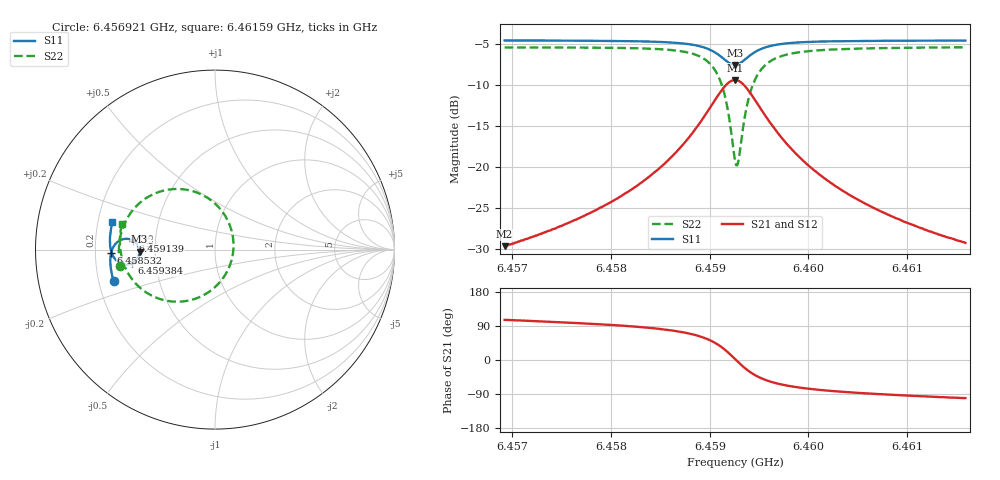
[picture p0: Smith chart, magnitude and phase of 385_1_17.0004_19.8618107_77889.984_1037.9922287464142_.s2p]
#  HZ  S  RI  R  50.00
! Rohde & Schwarz Vector Network Analyzer
! Rohde-Schwarz,ZNB20-2Port,1311601062101988,3.16
! Created: UTC 3/20/2024, 11:09:18 PM
! freq[Hz]  re:S11  im:S11  re:S21  im:S21  re:S12  im:S12  re:S22  im:S22
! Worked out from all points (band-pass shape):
!   401 points, 6.456921 GHz to 6.46159 GHz, reference 50 ohm
!   highest |S21| = -9.37 dB at 6.459256 GHz (marker M1); lowest = -29.6 dB at 6.456921 GHz (marker M2)
!   |S21| within 3 dB of the highest: 6.459023 GHz to 6.459489 GHz (466.6 kHz wide, 0.00722 % of centre)
!   lowest |S11| = -7.5 dB at 6.459256 GHz (marker M3), VSWR 2.45, Z = 20.4 - j0.571 ohm
!   |S11| at or under -10 dB: nowhere
!   |S22| runs from -19.8 to -5.4 dB; largest |S21 - S12| = 0.013
!   S11 on the Smith chart (normalised r, x): 6.456921 GHz: 0.26, -0.14; 6.458532 GHz: 0.27, -0.01; 6.459139 GHz: 0.37, +0.05; 6.459384 GHz: 0.36, -0.07; 6.46159 GHz: 0.26, +0.12
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6.4569213e9  -0.5652 -0.1766  -0.009 0.0318  -0.00734 0.0317  -0.5292 -0.0895
6.4577033e9  -0.58 -0.1086  -0.00592 0.0494  -0.00347 0.049  -0.5357 0.000646
6.4581235e9  -0.5833 -0.0668  -0.000355 0.068  0.00275 0.0667  -0.5285 0.0656
6.4584853e9  -0.5798 -0.0243  0.0133 0.0971  0.0172 0.0945  -0.5039 0.1452
6.458532e9  -0.5785 -0.0179  0.0166 0.1025  0.0206 0.0996  -0.4978 0.1584
6.4587421e9  -0.5665 0.014  0.0421 0.1339  0.0463 0.1292  -0.45 0.2294
6.4588938e9  -0.5456 0.0402  0.084 0.164  0.0873 0.1575  -0.373 0.2935
6.4590455e9  -0.5001 0.06  0.1745 0.1831  0.1755 0.1757  -0.208 0.3377
6.4591389e9  -0.4562 0.0503  0.2632 0.1528  0.2634 0.1469  -0.0438 0.2897
6.4591856e9  -0.4353 0.0318  0.3063 0.1108  0.3076 0.1056  0.038 0.2153
6.4592556e9  -0.4205 -0.0115  0.3396 0.0154  0.343 0.00872  0.1028 0.0389
6.459279e9  -0.4222 -0.0271  0.3377 -0.0192  0.3413 -0.0274  0.0993 -0.0268
6.4592907e9  -0.4244 -0.0348  0.3342 -0.0362  0.3378 -0.0451  0.0923 -0.0587
6.4593373e9  -0.4397 -0.0604  0.3063 -0.0952  0.3083 -0.1068  0.0365 -0.17
6.459384e9  -0.4614 -0.0764  0.265 -0.1357  0.2643 -0.1487  -0.0466 -0.2441
6.4594774e9  -0.5042 -0.083  0.1817 -0.1667  0.1758 -0.1781  -0.2122 -0.2904
6.4596291e9  -0.5474 -0.0626  0.0952 -0.1535  0.0871 -0.1596  -0.377 -0.2428
6.4597925e9  -0.5686 -0.035  0.051 -0.1262  0.0435 -0.129  -0.4564 -0.172
6.4600377e9  -0.5812 0.000579  0.0222 -0.0954  0.0165 -0.0961  -0.5041 -0.091
6.4603995e9  -0.5857 0.0429  0.00606 -0.0684  0.00217 -0.0681  -0.5258 -0.0105
6.4608197e9  -0.5836 0.0849  -0.00139 -0.0509  -0.00416 -0.0502  -0.5297 0.0551
6.46159e9  -0.5711 0.1528  -0.00624 -0.034  -0.00803 -0.033  -0.5183 0.1448
